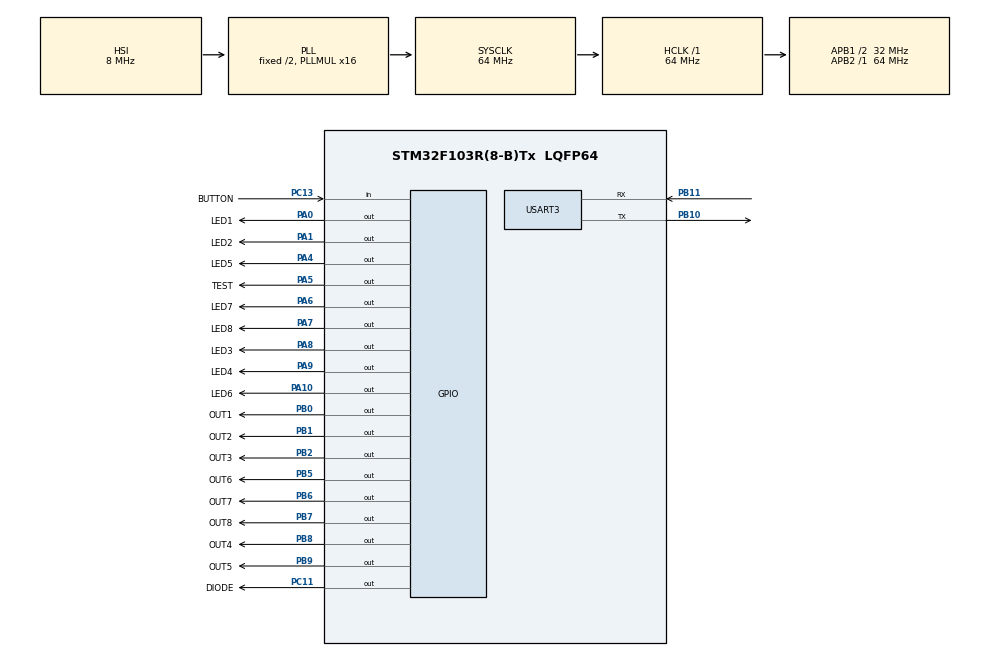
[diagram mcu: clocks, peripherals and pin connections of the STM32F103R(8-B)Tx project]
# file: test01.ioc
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Mcu.Family=STM32F1
NVIC.USART3_IRQn=true\:0\:0\:false\:false\:true\:true\:true
Dma.USART3_RX.0.PeriphInc=DMA_PINC_DISABLE
PB10.Mode=Asynchronous
PA6.GPIO_Label=LED7
PB0.GPIO_Label=OUT1
PB6.GPIO_Label=OUT7
PB11.Signal=USART3_RX
RCC.SYSCLKSource=RCC_SYSCLKSOURCE_PLLCLK
ProjectManager.StackSize=0x400
NVIC.DMA1_Channel3_IRQn=true\:0\:0\:false\:false\:true\:false\:true
RCC.HCLKFreq_Value=64000000
RCC.APB2TimFreq_Value=64000000
TIM3.Period=1
PB6.Signal=GPIO_Output
RCC.AHBFreq_Value=64000000
Dma.USART3_RX.0.MemDataAlignment=DMA_MDATAALIGN_BYTE
PB2.Signal=GPIO_Output
RCC.RTCClockSelection=RCC_RTCCLKSOURCE_LSE
RCC.PLLMUL=RCC_PLL_MUL16
PA14.Mode=Serial_Wire
TIM3.Prescaler=7999
PB1.GPIO_Label=OUT2
PC11.GPIO_Label=DIODE
NVIC.TIM2_IRQn=true\:0\:0\:false\:false\:true\:true\:true
PA10.GPIO_Label=LED6
Dma.USART3_RX.0.PeriphDataAlignment=DMA_PDATAALIGN_BYTE
PB7.Signal=GPIO_Output
PA8.Signal=GPIO_Output
PB7.GPIO_Label=OUT8
Dma.USART3_RX.0.Direction=DMA_PERIPH_TO_MEMORY
PB9.Signal=GPIO_Output
Mcu.Package=LQFP64
TIM2.Prescaler=31999
PB1.Signal=GPIO_Output
PA6.Signal=GPIO_Output
PA10.Signal=GPIO_Output
Dma.USART3_RX.0.MemInc=DMA_MINC_ENABLE
PB5.GPIO_Label=OUT6
RCC.APB1TimFreq_Value=64000000
Dma.Request0=USART3_RX
PA4.GPIO_Label=LED5
VP_TIM3_VS_ClockSourceINT.Mode=Internal
Dma.USART3_RX.0.Instance=DMA1_Channel3
PB9.GPIO_Label=OUT5
PA9.GPIO_Label=LED4
PC11.Signal=GPIO_Output
PC13-TAMPER-RTC.Signal=GPIO_Input
RCC.APB1CLKDivider=RCC_HCLK_DIV2
PA0-WKUP.GPIO_Label=LED1
Dma.USART3_RX.0.Mode=DMA_NORMAL
PA0-WKUP.Signal=GPIO_Output
PA13.Signal=SYS_JTMS-SWDIO
PB8.GPIO_Label=OUT4
PA8.GPIO_Label=LED3
PB11.Mode=Asynchronous
ProjectManager.TargetToolchain=STM32CubeIDE
PA9.Signal=GPIO_Output
RCC.USBFreq_Value=64000000
PA1.Signal=GPIO_Output
PB10.Signal=USART3_TX
PA5.Signal=GPIO_Output
board=NUCLEO-F103RB
PC13-TAMPER-RTC.GPIO_Label=BUTTON
NVIC.TIM3_IRQn=true\:0\:0\:false\:false\:true\:true\:true
RCC.APB2Freq_Value=64000000
VP_TIM2_VS_ClockSourceINT.Mode=Internal
PA1.GPIO_Label=LED2
TIM2.Period=200
PA13.Mode=Serial_Wire
Mcu.Name=STM32F103R(8-B)Tx
PA4.Signal=GPIO_Output
RCC.SYSCLKFreq_VALUE=64000000
Dma.USART3_RX.0.Priority=DMA_PRIORITY_LOW
PB5.Signal=GPIO_Output
PA7.GPIO_Label=LED8
PA5.GPIO_Label=TEST
USART3.VirtualMode=VM_ASYNC
PA14.Signal=SYS_JTCK-SWCLK
PB2.GPIO_Label=OUT3
ProjectManager.HeapSize=0x200
NVIC.PriorityGroup=NVIC_PRIORITYGROUP_4
PB8.Signal=GPIO_Output
RCC.APB1Freq_Value=32000000
PB0.Signal=GPIO_Output
PA7.Signal=GPIO_Output

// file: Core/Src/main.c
/* USER CODE BEGIN Header */
/**
  ******************************************************************************
  * @file           : main.c
  * @brief          : Main program body
  ******************************************************************************
  * @attention
  *
  * <h2><center>&copy; Copyright (c) 2021 STMicroelectronics.
  * All rights reserved.</center></h2>
  *
  * This software component is licensed by ST under BSD 3-Clause license,
  * the "License"; You may not use this file except in compliance with the
  * License. You may obtain a copy of the License at:
  *                        opensource.org/licenses/BSD-3-Clause
  *
  ******************************************************************************
  */
/* USER CODE END Header */
#include "main.h"

/* USER CODE BEGIN Includes */
#include "string.h"
#include "stdlib.h"
/* USER CODE END Includes */

TIM_HandleTypeDef htim2;
TIM_HandleTypeDef htim3;

UART_HandleTypeDef huart3;
DMA_HandleTypeDef hdma_usart3_rx;

/* USER CODE BEGIN PV */
//char string[9]={0};
char st1[]="lol\r\n";
char st[32]={0};
char k;
uint8_t counter=0;
uint8_t s=0;
extern char string[32];
extern int strl;
/* USER CODE END PV */

void SystemClock_Config(void);
static void MX_GPIO_Init(void);
static void MX_DMA_Init(void);
static void MX_TIM3_Init(void);
static void MX_TIM2_Init(void);
static void MX_USART3_UART_Init(void);

int main(void)
{

  /* MCU Configuration--------------------------------------------------------*/

  /* Reset of all peripherals, Initializes the Flash interface and the Systick. */
  HAL_Init();

  /* Configure the system clock */
  SystemClock_Config();

  /* Initialize all configured peripherals */
  MX_GPIO_Init();
  MX_DMA_Init();
  MX_TIM3_Init();
  MX_TIM2_Init();
  MX_USART3_UART_Init();
  /* USER CODE BEGIN 2 */
//st = malloc(sizeof(char)*9);
//symbolMatrixPtrArray = getSymbolMatrixPtrArray();
//HAL_UART_Receive_IT(&huart3, (uint8_t*) st, 8);
/*HAL_UART_Receive_IT(&huart3, st, 6);
HAL_UART_Receive_IT(&huart3, st, 1);
HAL_UART_Receive_IT(&huart3, st, 1);
HAL_UART_Receive_IT(&huart3, st, 1);
HAL_UART_Receive_IT(&huart3, st, 1);
HAL_UART_Transmit_IT(&huart3, st1, 10);
string[0]=st[0];
string[1]=st[1];
string[2]=st[2];
string[3]=st[3];
string[4]=st[4];
string[5]=st[5];*/
  HAL_TIM_Base_Start_IT(&htim3);
  HAL_TIM_Base_Start_IT(&htim2);
  HAL_UART_Transmit_IT(&huart3, (uint8_t*) st1, strlen(st1));
  HAL_GPIO_WritePin(DIODE_GPIO_Port, DIODE_Pin, GPIO_PIN_SET);
  /* USER CODE END 2 */

  /* Infinite loop */
  /* USER CODE BEGIN WHILE */
  while (1)
  {
	 HAL_UART_Receive_DMA(&huart3, (uint8_t*) st, 32);
	HAL_Delay(1000);
	 if(st[0]!=0){
		 k=st[0];
			 while (k!='\0'){
				 counter++;
				 k=st[counter];
			 }
			 for(s=0;s<counter;s++){
				 string[s]=st[s];

			 }
			 string[s+1]=0;
			 strl=counter+1/sizeof(char);
			 st[0]=0;
	 }

    /* USER CODE END WHILE */

  }
}

void SystemClock_Config(void)
{
  RCC_OscInitTypeDef RCC_OscInitStruct = {0};
  RCC_ClkInitTypeDef RCC_ClkInitStruct = {0};

  /** Initializes the RCC Oscillators according to the specified parameters
  * in the RCC_OscInitTypeDef structure.
  */
  RCC_OscInitStruct.OscillatorType = RCC_OSCILLATORTYPE_HSI;
  RCC_OscInitStruct.HSIState = RCC_HSI_ON;
  RCC_OscInitStruct.HSICalibrationValue = RCC_HSICALIBRATION_DEFAULT;
  RCC_OscInitStruct.PLL.PLLState = RCC_PLL_ON;
  RCC_OscInitStruct.PLL.PLLSource = RCC_PLLSOURCE_HSI_DIV2;
  RCC_OscInitStruct.PLL.PLLMUL = RCC_PLL_MUL16;
  if (HAL_RCC_OscConfig(&RCC_OscInitStruct) != HAL_OK)
  {
    Error_Handler();
  }
  /** Initializes the CPU, AHB and APB buses clocks
  */
  RCC_ClkInitStruct.ClockType = RCC_CLOCKTYPE_HCLK|RCC_CLOCKTYPE_SYSCLK
                              |RCC_CLOCKTYPE_PCLK1|RCC_CLOCKTYPE_PCLK2;
  RCC_ClkInitStruct.SYSCLKSource = RCC_SYSCLKSOURCE_PLLCLK;
  RCC_ClkInitStruct.AHBCLKDivider = RCC_SYSCLK_DIV1;
  RCC_ClkInitStruct.APB1CLKDivider = RCC_HCLK_DIV2;
  RCC_ClkInitStruct.APB2CLKDivider = RCC_HCLK_DIV1;

  if (HAL_RCC_ClockConfig(&RCC_ClkInitStruct, FLASH_LATENCY_2) != HAL_OK)
  {
    Error_Handler();
  }
}

static void MX_TIM2_Init(void)
{

  TIM_ClockConfigTypeDef sClockSourceConfig = {0};
  TIM_MasterConfigTypeDef sMasterConfig = {0};

  htim2.Instance = TIM2;
  htim2.Init.Prescaler = 31999;
  htim2.Init.CounterMode = TIM_COUNTERMODE_UP;
  htim2.Init.Period = 200;
  htim2.Init.ClockDivision = TIM_CLOCKDIVISION_DIV1;
  htim2.Init.AutoReloadPreload = TIM_AUTORELOAD_PRELOAD_DISABLE;
  if (HAL_TIM_Base_Init(&htim2) != HAL_OK)
  {
    Error_Handler();
  }
  sClockSourceConfig.ClockSource = TIM_CLOCKSOURCE_INTERNAL;
  if (HAL_TIM_ConfigClockSource(&htim2, &sClockSourceConfig) != HAL_OK)
  {
    Error_Handler();
  }
  sMasterConfig.MasterOutputTrigger = TIM_TRGO_RESET;
  sMasterConfig.MasterSlaveMode = TIM_MASTERSLAVEMODE_DISABLE;
  if (HAL_TIMEx_MasterConfigSynchronization(&htim2, &sMasterConfig) != HAL_OK)
  {
    Error_Handler();
  }

}

static void MX_TIM3_Init(void)
{

  TIM_ClockConfigTypeDef sClockSourceConfig = {0};
  TIM_MasterConfigTypeDef sMasterConfig = {0};

  htim3.Instance = TIM3;
  htim3.Init.Prescaler = 7999;
  htim3.Init.CounterMode = TIM_COUNTERMODE_UP;
  htim3.Init.Period = 1;
  htim3.Init.ClockDivision = TIM_CLOCKDIVISION_DIV1;
  htim3.Init.AutoReloadPreload = TIM_AUTORELOAD_PRELOAD_DISABLE;
  if (HAL_TIM_Base_Init(&htim3) != HAL_OK)
  {
    Error_Handler();
  }
  sClockSourceConfig.ClockSource = TIM_CLOCKSOURCE_INTERNAL;
  if (HAL_TIM_ConfigClockSource(&htim3, &sClockSourceConfig) != HAL_OK)
  {
    Error_Handler();
  }
  sMasterConfig.MasterOutputTrigger = TIM_TRGO_RESET;
  sMasterConfig.MasterSlaveMode = TIM_MASTERSLAVEMODE_DISABLE;
  if (HAL_TIMEx_MasterConfigSynchronization(&htim3, &sMasterConfig) != HAL_OK)
  {
    Error_Handler();
  }

}

static void MX_USART3_UART_Init(void)
{

  huart3.Instance = USART3;
  huart3.Init.BaudRate = 115200;
  huart3.Init.WordLength = UART_WORDLENGTH_8B;
  huart3.Init.StopBits = UART_STOPBITS_1;
  huart3.Init.Parity = UART_PARITY_NONE;
  huart3.Init.Mode = UART_MODE_TX_RX;
  huart3.Init.HwFlowCtl = UART_HWCONTROL_NONE;
  huart3.Init.OverSampling = UART_OVERSAMPLING_16;
  if (HAL_UART_Init(&huart3) != HAL_OK)
  {
    Error_Handler();
  }

}

static void MX_DMA_Init(void)
{

  /* DMA controller clock enable */
  __HAL_RCC_DMA1_CLK_ENABLE();

  /* DMA interrupt init */
  /* DMA1_Channel3_IRQn interrupt configuration */
  HAL_NVIC_SetPriority(DMA1_Channel3_IRQn, 0, 0);
  HAL_NVIC_EnableIRQ(DMA1_Channel3_IRQn);

}

static void MX_GPIO_Init(void)
{
  GPIO_InitTypeDef GPIO_InitStruct = {0};

  /* GPIO Ports Clock Enable */
  __HAL_RCC_GPIOC_CLK_ENABLE();
  __HAL_RCC_GPIOA_CLK_ENABLE();
  __HAL_RCC_GPIOB_CLK_ENABLE();

  /*Configure GPIO pin Output Level */
  HAL_GPIO_WritePin(GPIOA, LED1_Pin|LED2_Pin|LED5_Pin|TEST_Pin
                          |LED7_Pin|LED8_Pin|LED3_Pin|LED4_Pin
                          |LED6_Pin, GPIO_PIN_RESET);

  /*Configure GPIO pin Output Level */
  HAL_GPIO_WritePin(GPIOB, OUT1_Pin|OUT2_Pin|OUT3_Pin|OUT6_Pin
                          |OUT7_Pin|OUT8_Pin|OUT4_Pin|OUT5_Pin, GPIO_PIN_RESET);

  /*Configure GPIO pin Output Level */
  HAL_GPIO_WritePin(DIODE_GPIO_Port, DIODE_Pin, GPIO_PIN_RESET);

  /*Configure GPIO pin : BUTTON_Pin */
  GPIO_InitStruct.Pin = BUTTON_Pin;
  GPIO_InitStruct.Mode = GPIO_MODE_INPUT;
  GPIO_InitStruct.Pull = GPIO_NOPULL;
  HAL_GPIO_Init(BUTTON_GPIO_Port, &GPIO_InitStruct);

  /*Configure GPIO pins : LED1_Pin LED2_Pin LED5_Pin TEST_Pin
                           LED7_Pin LED8_Pin LED3_Pin LED4_Pin
                           LED6_Pin */
  GPIO_InitStruct.Pin = LED1_Pin|LED2_Pin|LED5_Pin|TEST_Pin
                          |LED7_Pin|LED8_Pin|LED3_Pin|LED4_Pin
                          |LED6_Pin;
  GPIO_InitStruct.Mode = GPIO_MODE_OUTPUT_PP;
  GPIO_InitStruct.Pull = GPIO_NOPULL;
  GPIO_InitStruct.Speed = GPIO_SPEED_FREQ_LOW;
  HAL_GPIO_Init(GPIOA, &GPIO_InitStruct);

  /*Configure GPIO pins : OUT1_Pin OUT2_Pin OUT3_Pin OUT6_Pin
                           OUT7_Pin OUT8_Pin OUT4_Pin OUT5_Pin */
  GPIO_InitStruct.Pin = OUT1_Pin|OUT2_Pin|OUT3_Pin|OUT6_Pin
                          |OUT7_Pin|OUT8_Pin|OUT4_Pin|OUT5_Pin;
  GPIO_InitStruct.Mode = GPIO_MODE_OUTPUT_PP;
  GPIO_InitStruct.Pull = GPIO_NOPULL;
  GPIO_InitStruct.Speed = GPIO_SPEED_FREQ_LOW;
  HAL_GPIO_Init(GPIOB, &GPIO_InitStruct);

  /*Configure GPIO pin : DIODE_Pin */
  GPIO_InitStruct.Pin = DIODE_Pin;
  GPIO_InitStruct.Mode = GPIO_MODE_OUTPUT_PP;
  GPIO_InitStruct.Pull = GPIO_NOPULL;
  GPIO_InitStruct.Speed = GPIO_SPEED_FREQ_LOW;
  HAL_GPIO_Init(DIODE_GPIO_Port, &GPIO_InitStruct);

}

/* USER CODE BEGIN 4 */
/*void HAL_UART_RxCpltCallback(UART_HandleTypeDef *huart){
	__NOP();
}

void HAL_UART_TxCpltCallback(UART_HandleTypeDef *huart){
	__NOP();
}*/
/* USER CODE END 4 */

void Error_Handler(void)
{
  __disable_irq();
  while (1)
  {
  }
}

/************************ (C) COPYRIGHT STMicroelectronics *****END OF FILE****/
